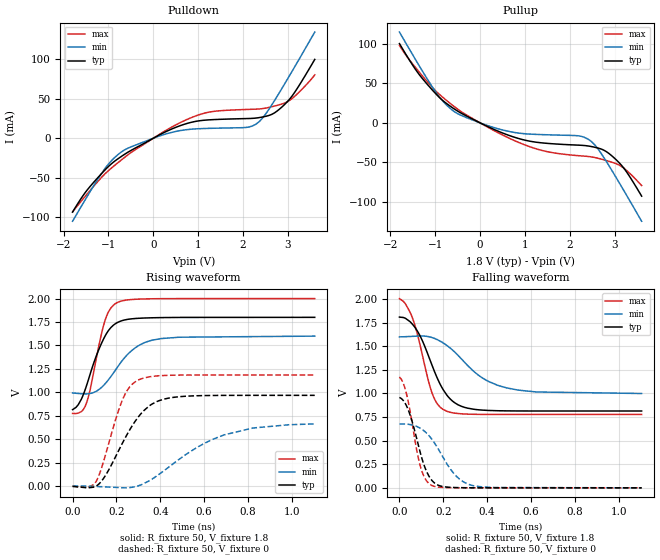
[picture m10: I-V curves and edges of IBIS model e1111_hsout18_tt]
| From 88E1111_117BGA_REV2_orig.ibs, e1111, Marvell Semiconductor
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|   Model e1111_hsout18_tt
[Model]   e1111_hsout18_tt
Model_type   Output
Polarity   Non-Inverting
Enable   Active-High
Vmeas =   0.9000V
Cref =  5.0000pF
Rref =  50.0000
Vref =   0.9000V
|   Typ   Min   Max
C_comp   1.263p   1.171p   1.320p
[Temperature Range]   25   125   0
[Voltage Range]   1.800   1.600   2.000
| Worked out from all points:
|   slope of the pulldown table from 0 to 0.27 V, typ, clamps not added: 33.6 ohm
|   slope of the pullup table from 0 to 0.27 V, typ, clamps not added: 37.1 ohm
|   rising waveform, R_fixture 50, V_fixture 1.8: 20-80 % time 94ps typ, 131ps min, 67.3ps max; typ from 0.815 V to 1.8 V
|   falling waveform, R_fixture 50, V_fixture 1.8: 20-80 % time 113ps typ, 182ps min, 80.6ps max; typ from 1.81 V to 0.814 V
|   rising waveform, R_fixture 50, V_fixture 0: 20-80 % time 144ps typ, 275ps min, 94.9ps max; typ from -0.004 V to 0.968 V
|   falling waveform, R_fixture 50, V_fixture 0: 20-80 % time 71.2ps typ, 116ps min, 57.1ps max; typ from 0.959 V to 0 V
[Pullup]
|   I(typ)   I(min)   I(max)
-1.8V     100.6mA    115.2mA    98.26mA
-1.406V   64.95mA    76.94mA    67.76mA
-956.3mV  34.96mA    36.46mA    38.63mA
-506.2mV  15.11mA    11.88mA    17.63mA
337.5mV   -8.979mA   -6.416mA   -10.62mA
1.069V    -22.76mA   -14.06mA   -29.44mA
2.194V    -28.21mA   -16.41mA   -41.56mA
2.475V    -29.93mA   -23.4mA    -43.05mA
2.756V    -34.56mA   -43.84mA   -46.8mA
3.038V    -47.03mA   -69.86mA   -51.86mA
3.263V    -62.01mA   -91.57mA   -60.2mA
3.6V      -92.86mA   -124.7mA   -79.44mA
[Pulldown]
|   I(typ)   I(min)   I(max)
-1.8V     -93.62mA   -105.3mA   -93.66mA
-1.462V   -64.84mA   -72.73mA   -69.89mA
-1.069V   -39.75mA   -37.78mA   -44.68mA
-618.8mV  -19.59mA   -14.08mA   -23.36mA
281.2mV   8.358mA    5.433mA    9.942mA
956.3mV   21.51mA    11.9mA     28.5mA
1.35V     23.66mA    12.69mA    34.09mA
2.081V    24.96mA    13.8mA     36.51mA
2.306V    25.72mA    18.57mA    36.94mA
2.644V    30.33mA    42.48mA    39.98mA
2.981V    45.89mA    74.01mA    46.01mA
3.6V      99.96mA    134.7mA    80.41mA
[Ramp]
| variable   typ   min   max
dV/dt_r   0.593/145.23p   0.413/283.98p   0.721/95.87p
dV/dt_f   0.597/112.87p   0.366/183.11p   0.739/80.92p
R_load  =   50
[Rising Waveform]
R_fixture = 50
V_fixture = 1.8
V_fixture_min = 1.6
V_fixture_max = 2
|   V(typ)   V(min)   V(max)
0s        815.4mV    993.1mV    774.2mV
26ps      868mV      987.7mV    777.8mV
61ps      1.052V     983.3mV    870.2mV
80ps      1.192V     987.4mV    1.027V
146ps     1.59V      1.085V     1.751V
175ps     1.691V     1.169V     1.9V
206ps     1.746V     1.272V     1.96V
297ps     1.789V     1.492V     1.994V
407ps     1.797V     1.574V     1.999V
1.105ns   1.8V       1.6V       2V
[Falling Waveform]
R_fixture = 50
V_fixture = 1.8
V_fixture_min = 1.6
V_fixture_max = 2
|   V(typ)   V(min)   V(max)
0s        1.81V      1.6V       2.006V
28ps      1.796V     1.602V     1.948V
65ps      1.718V     1.606V     1.764V
102ps     1.573V     1.609V     1.434V
153ps     1.274V     1.59V      979.1mV
216ps     983.8mV    1.51V      812.2mV
297ps     853mV      1.331V     782.7mV
378ps     824mV      1.166V     778.4mV
488ps     815.8mV    1.06V      777.7mV
1.105ns   814.4mV    999.9mV    777.6mV
[Rising Waveform]
R_fixture = 50
V_fixture = 0
V_fixture_min = 0
V_fixture_max = 0
|   V(typ)   V(min)   V(max)
0s        -4.277mV   606.2uV    -252.6uV
101ps     -10.18mV   -3.729mV   23.63mV
146ps     97.91mV    -8.773mV   297.5mV
230ps     468.7mV    -18.77mV   932.1mV
261ps     600.2mV    -16.27mV   1.058V
301ps     740.3mV    3.139mV    1.132V
351ps     857mV      57.41mV    1.166V
423ps     930.6mV    173.8mV    1.18V
693ps     967.3mV    546.5mV    1.185V
1.105ns   967.8mV    663.1mV    1.185V
[Falling Waveform]
R_fixture = 50
V_fixture = 0
V_fixture_min = 0
V_fixture_max = 0
|   V(typ)   V(min)   V(max)
0s        958.7mV    676.2mV    1.175V
18ps      924mV      676.5mV    1.105V
33ps      865.3mV    675.1mV    987.9mV
78ps      529.4mV    651.5mV    409.5mV
98ps      348.8mV    627.8mV    208.5mV
118ps     205.4mV    592.7mV    94.32mV
148ps     79.2mV     514.7mV    25.03mV
252ps     3.464mV    142.2mV    952.9uV
338ps     656.8uV    22.11mV    130.3uV
1.105ns   65.01uV    104.6uV    53.7uV
